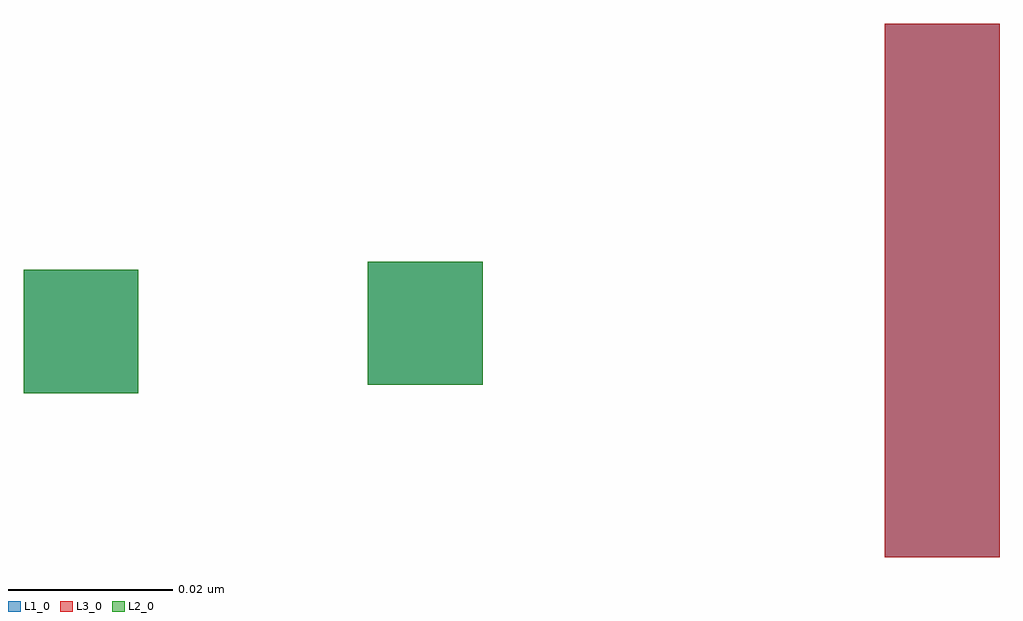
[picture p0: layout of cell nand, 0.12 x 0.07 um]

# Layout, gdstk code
import gdstk
lib = gdstk.Library(unit=1e-6, precision=5e-10)
def R(c, l, rs):  # rectangles x0, y0, x1, y1
    for r in rs: c.add(gdstk.rectangle(r[:2], r[2:], *l))
L1_0 = (1, 0)
L2_0 = (2, 0)
L3_0 = (3, 0)

nand = lib.new_cell('nand')
R(nand, L1_0, [(0.258,0.1025,0.272,0.1675), (0.153,0.1225,0.167,0.1375), (0.195,0.1235,0.209,0.1385)])
R(nand, L2_0, [(0.153,0.1225,0.167,0.1375), (0.195,0.1235,0.209,0.1385)])
R(nand, L3_0, [(0.258,0.1025,0.272,0.1675)])

lib.write_gds('nand.gds')
